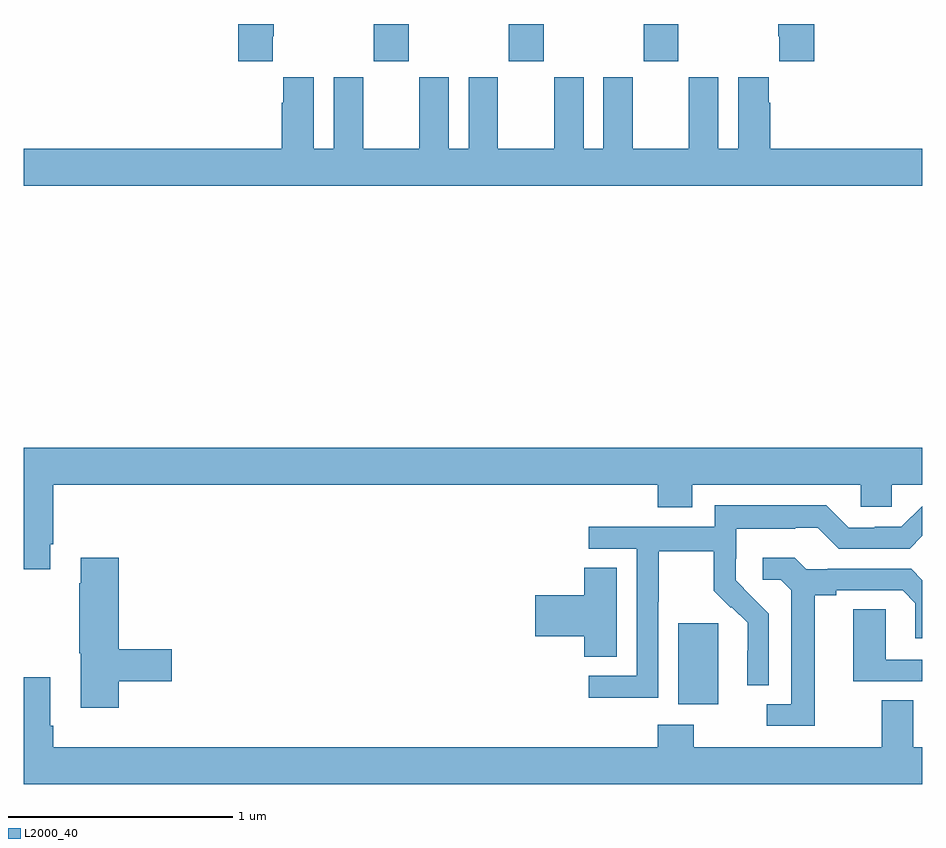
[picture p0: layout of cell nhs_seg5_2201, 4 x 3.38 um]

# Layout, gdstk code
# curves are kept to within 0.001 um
import gdstk
lib = gdstk.Library(unit=1e-6, precision=1e-09)
def R(c, l, rs):  # rectangles x0, y0, x1, y1
    for r in rs: c.add(gdstk.rectangle(r[:2], r[2:], *l))
def A(c, l, x, y, w, h, nx, ny, dx, dy):  # array of equal rectangles
    R(c, l, [(x+i*dx, y+j*dy, x+i*dx+w, y+j*dy+h) for i in range(nx) for j in range(ny)])
def P(c, l, *ps):  # polygons
    for p in ps: c.add(gdstk.Polygon(p, *l))
L2000_40 = (2000, 40)

nhs_seg5_2201 = lib.new_cell('nhs_seg5_2201')
A(nhs_seg5_2201, L2000_40, 240.559, 870.633, 0.155, 0.166, 3, 1, 0.6, 0)
R(nhs_seg5_2201, L2000_40, [(241.913,867.77,242.092,868.131)])
P(nhs_seg5_2201, L2000_40, [(239.954,870.633),(240.109,870.633),(240.109,870.745),(240.114,870.745),(240.114,870.799),(239.954,870.799)],
  [(242.519,870.799),(242.359,870.799),(242.359,870.745),(242.363,870.745),(242.363,870.633),(242.519,870.633)],
  [(243,870.244),(242.324,870.244),(242.324,870.449),(242.317,870.449),(242.317,870.562),(242.18,870.562),(242.18,870.244),(242.092,870.244),(242.092,870.562),(241.961,870.562),(241.961,870.244),(241.711,870.244),(241.711,870.562),(241.58,870.562),(241.58,870.244),(241.492,870.244),(241.492,870.562),(241.361,870.562),(241.361,870.244),(241.111,870.244),(241.111,870.562),(240.98,870.562),(240.98,870.244),(240.892,870.244),(240.892,870.562),(240.761,870.562),(240.761,870.244),(240.511,870.244),(240.511,870.562),(240.38,870.562),(240.38,870.244),(240.292,870.244),(240.292,870.562),(240.155,870.562),(240.155,870.449),(240.149,870.449),(240.149,870.244),(239,870.244),(239,870.08),(243,870.08)],
  [(239.119,868.483),(239.132,868.483),(239.132,868.748),(241.823,868.748),(241.823,868.649),(241.975,868.649),(241.975,868.748),(242.727,868.748),(242.727,868.65),(242.865,868.65),(242.865,868.748),(243,868.748),(243,868.912),(239,868.912),(239,868.371),(239.119,868.371)],
  [(241.824,868.228),(241.827,868.228),(241.827,868.452),(242.071,868.452),(242.071,868.277),(242.148,868.2),(242.151,868.203),(242.222,868.133),(242.222,868.01),(242.22,868.01),(242.22,867.856),(242.316,867.856),(242.316,868.174),(242.17,868.322),(242.17,868.419),(242.172,868.419),(242.172,868.553),(242.435,868.553),(242.435,868.557),(242.535,868.557),(242.628,868.464),(242.943,868.464),(243,868.521),(243,868.653),(242.907,868.56),(242.789,868.56),(242.789,868.557),(242.673,868.557),(242.573,868.657),(242.076,868.657),(242.076,868.56),(241.515,868.56),(241.515,868.464),(241.728,868.464),(241.728,867.897),(241.515,867.897),(241.515,867.799),(241.824,867.799)],
  [(239.423,867.874),(239.659,867.874),(239.659,868.016),(239.423,868.016),(239.423,868.423),(239.255,868.423),(239.255,868.31),(239.248,868.31),(239.248,867.999),(239.255,867.999),(239.255,867.756),(239.423,867.756)],
  [(242.521,868.256),(242.617,868.256),(242.617,868.278),(242.912,868.278),(242.969,868.221),(242.969,868.065),(243,868.065),(243,868.324),(242.95,868.374),(242.578,868.374),(242.578,868.371),(242.484,868.371),(242.432,868.423),(242.289,868.423),(242.289,868.326),(242.37,868.326),(242.417,868.279),(242.417,867.771),(242.307,867.771),(242.307,867.675),(242.521,867.675)],
  [(241.639,868.379),(241.496,868.379),(241.496,868.256),(241.278,868.256),(241.278,868.073),(241.496,868.073),(241.496,867.982),(241.639,867.982)],
  [(243,867.969),(242.838,867.969),(242.838,868.193),(242.693,868.193),(242.693,867.873),(243,867.873)],
  [(243,867.58),(242.959,867.58),(242.959,867.788),(242.819,867.788),(242.819,867.58),(241.983,867.58),(241.983,867.679),(241.823,867.679),(241.823,867.58),(239.132,867.58),(239.132,867.676),(239.119,867.676),(239.119,867.892),(239,867.892),(239,867.416),(243,867.416)])

lib.write_gds('nhs_seg5_2201.gds')
